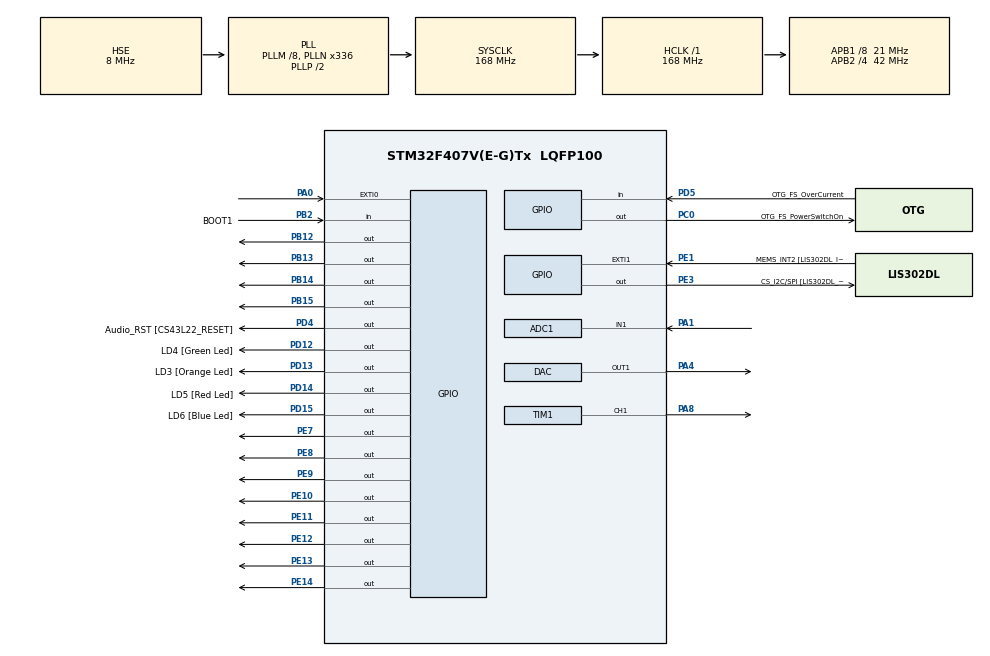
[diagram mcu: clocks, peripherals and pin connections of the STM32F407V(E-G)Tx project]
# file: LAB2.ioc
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ADC1.Channel-0\#ChannelRegularConversion=ADC_CHANNEL_1
ADC1.ClockPrescaler=ADC_CLOCK_SYNC_PCLK_DIV2
ADC1.ContinuousConvMode=DISABLE
ADC1.DMAContinuousRequests=DISABLE
ADC1.DataAlign=ADC_DATAALIGN_RIGHT
ADC1.DiscontinuousConvMode=DISABLE
ADC1.EOCSelection=ADC_EOC_SINGLE_CONV
ADC1.EnableAnalogWatchDog=false
ADC1.ExternalTrigConv=ADC_SOFTWARE_START
ADC1.ExternalTrigConvEdge=ADC_EXTERNALTRIGCONVEDGE_NONE
ADC1.InjNumberOfConversion=0
ADC1.NbrOfConversion=1
ADC1.NbrOfConversionFlag=1
ADC1.Rank-0\#ChannelRegularConversion=1
ADC1.Resolution=ADC_RESOLUTION_8B
ADC1.SamplingTime-0\#ChannelRegularConversion=ADC_SAMPLETIME_480CYCLES
ADC1.ScanConvMode=DISABLE
ADC1.master=1
Mcu.Family=STM32F4
Mcu.Name=STM32F407V(E-G)Tx
Mcu.Package=LQFP100
NVIC.ADC_IRQn=true\:0\:0\:false\:false\:true\:true
NVIC.EXTI0_IRQn=true\:0\:0\:false\:false\:true\:true
NVIC.PriorityGroup=NVIC_PRIORITYGROUP_0
NVIC.TIM1_BRK_TIM9_IRQn=true\:0\:0\:false\:false\:true\:true
NVIC.TIM1_CC_IRQn=true\:0\:0\:false\:false\:true\:true
NVIC.TIM1_TRG_COM_TIM11_IRQn=true\:0\:0\:false\:false\:true\:true
NVIC.TIM1_UP_TIM10_IRQn=true\:0\:0\:false\:false\:true\:true
NVIC.TIM3_IRQn=true\:0\:0\:false\:false\:true\:true
PA0-WKUP.Signal=GPXTI0
PA1.Signal=ADCx_IN1
PA10.GPIO_Label=OTG_FS_ID
PA10.GPIO_Mode=GPIO_MODE_AF_PP
PA10.GPIO_PuPd=GPIO_NOPULL
PA10.GPIO_Speed=GPIO_SPEED_FREQ_LOW
PA10.Signal=USB_OTG_FS_ID
PA11.GPIO_Label=OTG_FS_DM
PA11.GPIO_Mode=GPIO_MODE_AF_PP
PA11.GPIO_PuPd=GPIO_NOPULL
PA11.GPIO_Speed=GPIO_SPEED_FREQ_LOW
PA11.Signal=USB_OTG_FS_DM
PA12.GPIO_Label=OTG_FS_DP
PA12.GPIO_Mode=GPIO_MODE_AF_PP
PA12.GPIO_PuPd=GPIO_NOPULL
PA12.GPIO_Speed=GPIO_SPEED_FREQ_LOW
PA12.Signal=USB_OTG_FS_DP
PA13.GPIO_Label=SWDIO
PA13.Signal=SYS_JTMS-SWDIO
PA14.GPIO_Label=SWCLK
PA14.Signal=SYS_JTCK-SWCLK
PA4.Signal=COMP_DAC1_group
PA5.GPIO_Label=SPI1_SCK [LIS302DL_SCL/SPC]
PA5.GPIO_Mode=GPIO_MODE_AF_PP
PA5.GPIO_PuPd=GPIO_NOPULL
PA5.GPIO_Speed=GPIO_SPEED_FREQ_LOW
PA5.Signal=SPI1_SCK
PA6.GPIO_Label=SPI1_MISO [LIS302DL_SDO]
PA6.GPIO_Mode=GPIO_MODE_AF_PP
PA6.GPIO_PuPd=GPIO_NOPULL
PA6.GPIO_Speed=GPIO_SPEED_FREQ_LOW
PA6.Signal=SPI1_MISO
PA7.GPIO_Label=SPI1_MOSI [LIS302DL_SDA/SDI/SDO]
PA7.GPIO_Mode=GPIO_MODE_AF_PP
PA7.GPIO_PuPd=GPIO_NOPULL
PA7.GPIO_Speed=GPIO_SPEED_FREQ_LOW
PA7.Signal=SPI1_MOSI
PA8.Signal=S_TIM1_CH1
PA9.GPIO_Label=VBUS_FS
PA9.GPIO_Mode=GPIO_MODE_INPUT
PA9.GPIO_PuPd=GPIO_NOPULL
PA9.Signal=USB_OTG_FS_VBUS
PB10.GPIO_Label=CLK_IN [MP45DT02_CLK]
PB10.GPIO_Mode=GPIO_MODE_AF_PP
PB10.GPIO_PuPd=GPIO_NOPULL
PB10.GPIO_Speed=GPIO_SPEED_FREQ_LOW
PB10.Signal=I2S2_CK
PB12.Signal=GPIO_Output
PB13.Signal=GPIO_Output
PB14.Signal=GPIO_Output
PB15.Signal=GPIO_Output
PB2.GPIO_Label=BOOT1
PB2.GPIO_Mode=GPIO_MODE_INPUT
PB2.GPIO_PuPd=GPIO_NOPULL
PB2.Signal=GPIO_Input
PB3.GPIO_Label=SWO
PB3.Signal=SYS_JTDO-SWO
PB6.GPIO_Label=Audio_SCL [CS43L22_SCL]
PB6.GPIO_Mode=GPIO_MODE_AF_OD
PB6.GPIO_PuPd=GPIO_NOPULL
PB6.GPIO_Speed=GPIO_SPEED_FREQ_LOW
PB6.Signal=I2C1_SCL
PB9.GPIO_Label=Audio_SDA [CS43L22_SDA]
PB9.GPIO_Mode=GPIO_MODE_AF_OD
PB9.GPIO_PuPd=GPIO_NOPULL
PB9.GPIO_Speed=GPIO_SPEED_FREQ_LOW
PB9.Signal=I2C1_SDA
PC0.GPIO_Label=OTG_FS_PowerSwitchOn
PC0.GPIO_PuPd=GPIO_NOPULL
PC0.GPIO_Speed=GPIO_SPEED_FREQ_LOW
PC0.PinState=GPIO_PIN_SET
PC0.Signal=GPIO_Output
PC10.GPIO_Label=I2S3_SCK [CS43L22_SCLK]
PC10.GPIO_Mode=GPIO_MODE_AF_PP
PC10.GPIO_PuPd=GPIO_NOPULL
PC10.GPIO_Speed=GPIO_SPEED_FREQ_LOW
PC10.Signal=I2S3_CK
PC12.GPIO_Label=I2S3_SD [CS43L22_SDIN]
PC12.GPIO_Mode=GPIO_MODE_AF_PP
PC12.GPIO_PuPd=GPIO_NOPULL
PC12.GPIO_Speed=GPIO_SPEED_FREQ_LOW
PC12.Signal=I2S3_SD
PC14-OSC32_IN.GPIO_Label=PC14-OSC32_IN
PC14-OSC32_IN.Signal=RCC_OSC32_IN
PC15-OSC32_OUT.GPIO_Label=PC15-OSC32_OUT
PC15-OSC32_OUT.Signal=RCC_OSC32_OUT
PC3.GPIO_Label=PDM_OUT [MP45DT02_DOUT]
PC3.GPIO_Mode=GPIO_MODE_AF_PP
PC3.GPIO_PuPd=GPIO_NOPULL
PC3.GPIO_Speed=GPIO_SPEED_FREQ_LOW
PC3.Signal=I2S2_SD
PC7.GPIO_Label=I2S3_MCK [CS43L22_MCLK]
PC7.GPIO_Mode=GPIO_MODE_AF_PP
PC7.GPIO_PuPd=GPIO_NOPULL
PC7.GPIO_Speed=GPIO_SPEED_FREQ_LOW
PC7.Signal=I2S3_MCK
PD12.GPIO_Label=LD4 [Green Led]
PD12.GPIO_PuPd=GPIO_NOPULL
PD12.GPIO_Speed=GPIO_SPEED_FREQ_LOW
PD12.Signal=GPIO_Output
PD13.GPIO_Label=LD3 [Orange Led]
PD13.GPIO_PuPd=GPIO_NOPULL
PD13.GPIO_Speed=GPIO_SPEED_FREQ_LOW
PD13.Signal=GPIO_Output
PD14.GPIO_Label=LD5 [Red Led]
PD14.GPIO_PuPd=GPIO_NOPULL
PD14.GPIO_Speed=GPIO_SPEED_FREQ_LOW
PD14.Signal=GPIO_Output
PD15.GPIO_Label=LD6 [Blue Led]
PD15.GPIO_PuPd=GPIO_NOPULL
PD15.GPIO_Speed=GPIO_SPEED_FREQ_LOW
PD15.Signal=GPIO_Output
PD4.GPIO_Label=Audio_RST [CS43L22_RESET]
PD4.GPIO_PuPd=GPIO_NOPULL
PD4.GPIO_Speed=GPIO_SPEED_FREQ_LOW
PD4.Signal=GPIO_Output
PD5.GPIO_Label=OTG_FS_OverCurrent
PD5.GPIO_Mode=GPIO_MODE_INPUT
PD5.GPIO_PuPd=GPIO_NOPULL
PD5.Signal=GPIO_Input
PE1.GPIO_Label=MEMS_INT2 [LIS302DL_INT2]
PE1.GPIO_ModeDefaultEXTI=GPIO_MODE_EVT_RISING
PE1.GPIO_PuPd=GPIO_NOPULL
PE1.Signal=GPXTI1
PE10.Signal=GPIO_Output
PE11.Signal=GPIO_Output
PE12.Signal=GPIO_Output
PE13.Signal=GPIO_Output
PE14.Signal=GPIO_Output
PE3.GPIO_Label=CS_I2C/SPI [LIS302DL_CS_I2C/SPI]
PE3.GPIO_PuPd=GPIO_NOPULL
PE3.GPIO_Speed=GPIO_SPEED_FREQ_LOW
PE3.Signal=GPIO_Output
PE7.Signal=GPIO_Output
PE8.Signal=GPIO_Output
PE9.Signal=GPIO_Output
PH0-OSC_IN.GPIO_Label=PH0-OSC_IN
PH0-OSC_IN.Mode=HSE-External-Oscillator
PH0-OSC_IN.Signal=RCC_OSC_IN
PH1-OSC_OUT.GPIO_Label=PH1-OSC_OUT
PH1-OSC_OUT.Mode=HSE-External-Oscillator
PH1-OSC_OUT.Signal=RCC_OSC_OUT
ProjectManager.HeapSize=0x200
ProjectManager.StackSize=0x400
ProjectManager.TargetToolchain=MDK-ARM V5
RCC.48MHZClocksFreq_Value=48000000
RCC.AHBFreq_Value=168000000
RCC.APB1CLKDivider=RCC_HCLK_DIV8
RCC.APB1Freq_Value=21000000
RCC.APB1TimFreq_Value=42000000
RCC.APB2CLKDivider=RCC_HCLK_DIV4
RCC.APB2Freq_Value=42000000
RCC.APB2TimFreq_Value=84000000
RCC.CortexFreq_Value=168000000
RCC.HCLKFreq_Value=168000000
RCC.HSE_VALUE=8000000
RCC.HSI_VALUE=16000000
RCC.LSE_VALUE=32768
RCC.PLLM=8
RCC.PLLN=336
RCC.PLLQ=7
RCC.PLLSourceVirtual=RCC_PLLSOURCE_HSE
RCC.SYSCLKFreq_VALUE=168000000
RCC.SYSCLKSource=RCC_SYSCLKSOURCE_PLLCLK
RCC.VCOOutputFreq_Value=336000000
SH.ADCx_IN1.0=ADC1_IN1,IN1
SH.COMP_DAC1_group.0=DAC_OUT1,DAC_OUT1
SH.S_TIM1_CH1.0=TIM1_CH1,PWM Generation1 CH1
TIM1.Channel-PWM\ Generation1\ CH1=TIM_CHANNEL_1
VP_TIM1_VS_ClockSourceINT.Mode=Internal
VP_TIM3_VS_ClockSourceINT.Mode=Internal
board=STM32F4DISCOVERY

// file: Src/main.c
/**
  ******************************************************************************
  * File Name          : main.c
  * Description        : Main program body
  ******************************************************************************
  ** This notice applies to any and all portions of this file
  * that are not between comment pairs USER CODE BEGIN and
  * USER CODE END. Other portions of this file, whether
  * inserted by the user or by software development tools
  * are owned by their respective copyright owners.
  *
  * COPYRIGHT(c) 2018 STMicroelectronics
  *
  * Redistribution and use in source and binary forms, with or without modification,
  * are permitted provided that the following conditions are met:
  *   1. Redistributions of source code must retain the above copyright notice,
  *      this list of conditions and the following disclaimer.
  *   2. Redistributions in binary form must reproduce the above copyright notice,
  *      this list of conditions and the following disclaimer in the documentation
  *      and/or other materials provided with the distribution.
  *   3. Neither the name of STMicroelectronics nor the names of its contributors
  *      may be used to endorse or promote products derived from this software
  *      without specific prior written permission.
  *
  * THIS SOFTWARE IS PROVIDED BY THE COPYRIGHT HOLDERS AND CONTRIBUTORS "AS IS"
  * AND ANY EXPRESS OR IMPLIED WARRANTIES, INCLUDING, BUT NOT LIMITED TO, THE
  * IMPLIED WARRANTIES OF MERCHANTABILITY AND FITNESS FOR A PARTICULAR PURPOSE ARE
  * DISCLAIMED. IN NO EVENT SHALL THE COPYRIGHT HOLDER OR CONTRIBUTORS BE LIABLE
  * FOR ANY DIRECT, INDIRECT, INCIDENTAL, SPECIAL, EXEMPLARY, OR CONSEQUENTIAL
  * DAMAGES (INCLUDING, BUT NOT LIMITED TO, PROCUREMENT OF SUBSTITUTE GOODS OR
  * SERVICES; LOSS OF USE, DATA, OR PROFITS; OR BUSINESS INTERRUPTION) HOWEVER
  * CAUSED AND ON ANY THEORY OF LIABILITY, WHETHER IN CONTRACT, STRICT LIABILITY,
  * OR TORT (INCLUDING NEGLIGENCE OR OTHERWISE) ARISING IN ANY WAY OUT OF THE USE
  * OF THIS SOFTWARE, EVEN IF ADVISED OF THE POSSIBILITY OF SUCH DAMAGE.
  *
  ******************************************************************************
  */
#include "main.h"
#include "stm32f4xx_hal.h"

/* USER CODE BEGIN Includes */
#define SEG_A GPIO_PIN_7			//Pin PE7  brown cable
#define SEG_B GPIO_PIN_8			//Pin PE8  brown cable
#define SEG_C GPIO_PIN_9			//Pin PE9  yellow cable
#define SEG_D GPIO_PIN_10		//Pin PE10 yellow cable
#define SEG_E GPIO_PIN_11		//Pin PE11 gray cable
#define SEG_F GPIO_PIN_12		//Pin PE12 gray cable
#define SEG_G GPIO_PIN_13		//Pin PE13 green cable
#define SEG_DP GPIO_PIN_14		//Pin PE14 green cable

#define SEG_OUT1 GPIO_PIN_2		//Pin PE2 white cable
#define SEG_OUT2 GPIO_PIN_4		//Pin PE4 red cable
#define SEG_OUT3 GPIO_PIN_5		//Pin PE5 brown cable
#define SEG_OUT4 GPIO_PIN_6		//Pin PE6 white cable
/* USER CODE END Includes */

ADC_HandleTypeDef hadc1;

DAC_HandleTypeDef hdac;

TIM_HandleTypeDef htim1;
TIM_HandleTypeDef htim3;

/* USER CODE BEGIN PV */
/* Private variables ---------------------------------------------------------*/
int x[] = {0, 0, 0, 0, 0};
volatile int sysTickFlag;
volatile int displayMode = 0;
volatile int debounce = 0;
float coeff[5] = {0.2, 0.2, 0.2, 0.2, 0.2};
int coeff_len = 5;
int count = 0;
float min = 10.0;
float max = 0.0;
float rms_counter = 0.0;
float rms[10] = {0, 0, 0, 0, 0, 0, 0, 0, 0, 0};

/* USER CODE END PV */

void SystemClock_Config(void);
static void MX_GPIO_Init(void);
static void MX_ADC1_Init(void);
static void MX_DAC_Init(void);
static void MX_TIM1_Init(void);
static void MX_TIM3_Init(void);

void HAL_TIM_MspPostInit(TIM_HandleTypeDef *htim);

/* USER CODE BEGIN PFP */
/* Private function prototypes -----------------------------------------------*/

/* USER CODE END PFP */

int main(void)
{

  /* MCU Configuration----------------------------------------------------------*/

  /* Reset of all peripherals, Initializes the Flash interface and the Systick. */
  HAL_Init();

  /* Configure the system clock */
  SystemClock_Config();

  /* Initialize all configured peripherals */
  MX_GPIO_Init();
  MX_ADC1_Init();
  MX_DAC_Init();
  MX_TIM1_Init();
  MX_TIM3_Init();

  /* USER CODE BEGIN 2 */
	int adc;
	float res_filter = 0.0;

	HAL_ADC_Start_IT(&hadc1);

	// Give a initial DAC value
	HAL_DAC_Start(&hdac, DAC_CHANNEL_1);
	HAL_DAC_SetValue(&hdac, DAC_CHANNEL_1, DAC_ALIGN_8B_R, 800);
  /* USER CODE END 2 */

  /* Infinite loop */
  while (1)
  {
	printf("it's lit");
  }

}

/** System Clock Configuration
*/
void SystemClock_Config(void)
{

  RCC_OscInitTypeDef RCC_OscInitStruct;
  RCC_ClkInitTypeDef RCC_ClkInitStruct;

    /**Configure the main internal regulator output voltage
    */
  __HAL_RCC_PWR_CLK_ENABLE();

  __HAL_PWR_VOLTAGESCALING_CONFIG(PWR_REGULATOR_VOLTAGE_SCALE1);

    /**Initializes the CPU, AHB and APB busses clocks
    */
  RCC_OscInitStruct.OscillatorType = RCC_OSCILLATORTYPE_HSE;
  RCC_OscInitStruct.HSEState = RCC_HSE_ON;
  RCC_OscInitStruct.PLL.PLLState = RCC_PLL_ON;
  RCC_OscInitStruct.PLL.PLLSource = RCC_PLLSOURCE_HSE;
  RCC_OscInitStruct.PLL.PLLM = 8;
  RCC_OscInitStruct.PLL.PLLN = 336;
  RCC_OscInitStruct.PLL.PLLP = RCC_PLLP_DIV2;
  RCC_OscInitStruct.PLL.PLLQ = 7;
  if (HAL_RCC_OscConfig(&RCC_OscInitStruct) != HAL_OK)
  {
    _Error_Handler(__FILE__, __LINE__);
  }

    /**Initializes the CPU, AHB and APB busses clocks
    */
  RCC_ClkInitStruct.ClockType = RCC_CLOCKTYPE_HCLK|RCC_CLOCKTYPE_SYSCLK
                              |RCC_CLOCKTYPE_PCLK1|RCC_CLOCKTYPE_PCLK2;
  RCC_ClkInitStruct.SYSCLKSource = RCC_SYSCLKSOURCE_PLLCLK;
  RCC_ClkInitStruct.AHBCLKDivider = RCC_SYSCLK_DIV1;
  RCC_ClkInitStruct.APB1CLKDivider = RCC_HCLK_DIV8;
  RCC_ClkInitStruct.APB2CLKDivider = RCC_HCLK_DIV4;

  if (HAL_RCC_ClockConfig(&RCC_ClkInitStruct, FLASH_LATENCY_5) != HAL_OK)
  {
    _Error_Handler(__FILE__, __LINE__);
  }

    /**Configure the Systick interrupt time
    */
  HAL_SYSTICK_Config(HAL_RCC_GetHCLKFreq()/1000);

    /**Configure the Systick
    */
  HAL_SYSTICK_CLKSourceConfig(SYSTICK_CLKSOURCE_HCLK);

  /* SysTick_IRQn interrupt configuration */
  HAL_NVIC_SetPriority(SysTick_IRQn, 0, 0);
}

/* ADC1 init function */
static void MX_ADC1_Init(void)
{

  ADC_ChannelConfTypeDef sConfig;

    /**Configure the global features of the ADC (Clock, Resolution, Data Alignment and number of conversion)
    */
  hadc1.Instance = ADC1;
  hadc1.Init.ClockPrescaler = ADC_CLOCK_SYNC_PCLK_DIV2;
  hadc1.Init.Resolution = ADC_RESOLUTION_8B;
  hadc1.Init.ScanConvMode = DISABLE;
  hadc1.Init.ContinuousConvMode = DISABLE;
  hadc1.Init.DiscontinuousConvMode = DISABLE;
  hadc1.Init.ExternalTrigConvEdge = ADC_EXTERNALTRIGCONVEDGE_NONE;
  hadc1.Init.ExternalTrigConv = ADC_SOFTWARE_START;
  hadc1.Init.DataAlign = ADC_DATAALIGN_RIGHT;
  hadc1.Init.NbrOfConversion = 1;
  hadc1.Init.DMAContinuousRequests = DISABLE;
  hadc1.Init.EOCSelection = ADC_EOC_SINGLE_CONV;
  if (HAL_ADC_Init(&hadc1) != HAL_OK)
  {
    _Error_Handler(__FILE__, __LINE__);
  }

    /**Configure for the selected ADC regular channel its corresponding rank in the sequencer and its sample time.
    */
  sConfig.Channel = ADC_CHANNEL_1;
  sConfig.Rank = 1;
  sConfig.SamplingTime = ADC_SAMPLETIME_480CYCLES;
  if (HAL_ADC_ConfigChannel(&hadc1, &sConfig) != HAL_OK)
  {
    _Error_Handler(__FILE__, __LINE__);
  }

}

/* DAC init function */
static void MX_DAC_Init(void)
{

  DAC_ChannelConfTypeDef sConfig;

    /**DAC Initialization
    */
  hdac.Instance = DAC;
  if (HAL_DAC_Init(&hdac) != HAL_OK)
  {
    _Error_Handler(__FILE__, __LINE__);
  }

    /**DAC channel OUT1 config
    */
  sConfig.DAC_Trigger = DAC_TRIGGER_NONE;
  sConfig.DAC_OutputBuffer = DAC_OUTPUTBUFFER_ENABLE;
  if (HAL_DAC_ConfigChannel(&hdac, &sConfig, DAC_CHANNEL_1) != HAL_OK)
  {
    _Error_Handler(__FILE__, __LINE__);
  }

}

/* TIM1 init function */
static void MX_TIM1_Init(void)
{

  TIM_ClockConfigTypeDef sClockSourceConfig;
  TIM_MasterConfigTypeDef sMasterConfig;
  TIM_OC_InitTypeDef sConfigOC;
  TIM_BreakDeadTimeConfigTypeDef sBreakDeadTimeConfig;

  htim1.Instance = TIM1;
  htim1.Init.Prescaler = 0;
  htim1.Init.CounterMode = TIM_COUNTERMODE_UP;
  htim1.Init.Period = 0;
  htim1.Init.ClockDivision = TIM_CLOCKDIVISION_DIV1;
  htim1.Init.RepetitionCounter = 0;
  if (HAL_TIM_Base_Init(&htim1) != HAL_OK)
  {
    _Error_Handler(__FILE__, __LINE__);
  }

  sClockSourceConfig.ClockSource = TIM_CLOCKSOURCE_INTERNAL;
  if (HAL_TIM_ConfigClockSource(&htim1, &sClockSourceConfig) != HAL_OK)
  {
    _Error_Handler(__FILE__, __LINE__);
  }

  if (HAL_TIM_PWM_Init(&htim1) != HAL_OK)
  {
    _Error_Handler(__FILE__, __LINE__);
  }

  sMasterConfig.MasterOutputTrigger = TIM_TRGO_RESET;
  sMasterConfig.MasterSlaveMode = TIM_MASTERSLAVEMODE_DISABLE;
  if (HAL_TIMEx_MasterConfigSynchronization(&htim1, &sMasterConfig) != HAL_OK)
  {
    _Error_Handler(__FILE__, __LINE__);
  }

  sConfigOC.OCMode = TIM_OCMODE_PWM1;
  sConfigOC.Pulse = 0;
  sConfigOC.OCPolarity = TIM_OCPOLARITY_HIGH;
  sConfigOC.OCNPolarity = TIM_OCNPOLARITY_HIGH;
  sConfigOC.OCFastMode = TIM_OCFAST_DISABLE;
  sConfigOC.OCIdleState = TIM_OCIDLESTATE_RESET;
  sConfigOC.OCNIdleState = TIM_OCNIDLESTATE_RESET;
  if (HAL_TIM_PWM_ConfigChannel(&htim1, &sConfigOC, TIM_CHANNEL_1) != HAL_OK)
  {
    _Error_Handler(__FILE__, __LINE__);
  }

  sBreakDeadTimeConfig.OffStateRunMode = TIM_OSSR_DISABLE;
  sBreakDeadTimeConfig.OffStateIDLEMode = TIM_OSSI_DISABLE;
  sBreakDeadTimeConfig.LockLevel = TIM_LOCKLEVEL_OFF;
  sBreakDeadTimeConfig.DeadTime = 0;
  sBreakDeadTimeConfig.BreakState = TIM_BREAK_DISABLE;
  sBreakDeadTimeConfig.BreakPolarity = TIM_BREAKPOLARITY_HIGH;
  sBreakDeadTimeConfig.AutomaticOutput = TIM_AUTOMATICOUTPUT_DISABLE;
  if (HAL_TIMEx_ConfigBreakDeadTime(&htim1, &sBreakDeadTimeConfig) != HAL_OK)
  {
    _Error_Handler(__FILE__, __LINE__);
  }

  HAL_TIM_MspPostInit(&htim1);

}

/* TIM3 init function */
static void MX_TIM3_Init(void)
{

  TIM_ClockConfigTypeDef sClockSourceConfig;
  TIM_MasterConfigTypeDef sMasterConfig;

  htim3.Instance = TIM3;
  htim3.Init.Prescaler = 0;
  htim3.Init.CounterMode = TIM_COUNTERMODE_UP;
  htim3.Init.Period = 0;
  htim3.Init.ClockDivision = TIM_CLOCKDIVISION_DIV1;
  if (HAL_TIM_Base_Init(&htim3) != HAL_OK)
  {
    _Error_Handler(__FILE__, __LINE__);
  }

  sClockSourceConfig.ClockSource = TIM_CLOCKSOURCE_INTERNAL;
  if (HAL_TIM_ConfigClockSource(&htim3, &sClockSourceConfig) != HAL_OK)
  {
    _Error_Handler(__FILE__, __LINE__);
  }

  sMasterConfig.MasterOutputTrigger = TIM_TRGO_RESET;
  sMasterConfig.MasterSlaveMode = TIM_MASTERSLAVEMODE_DISABLE;
  if (HAL_TIMEx_MasterConfigSynchronization(&htim3, &sMasterConfig) != HAL_OK)
  {
    _Error_Handler(__FILE__, __LINE__);
  }

}

/** Configure pins as
        * Analog
        * Input
        * Output
        * EVENT_OUT
        * EXTI
     PC3   ------> I2S2_SD
     PA5   ------> SPI1_SCK
     PA6   ------> SPI1_MISO
     PA7   ------> SPI1_MOSI
     PB10   ------> I2S2_CK
     PC7   ------> I2S3_MCK
     PA9   ------> USB_OTG_FS_VBUS
     PA10   ------> USB_OTG_FS_ID
     PA11   ------> USB_OTG_FS_DM
     PA12   ------> USB_OTG_FS_DP
     PC10   ------> I2S3_CK
     PC12   ------> I2S3_SD
     PB6   ------> I2C1_SCL
     PB9   ------> I2C1_SDA
*/
static void MX_GPIO_Init(void)
{

  GPIO_InitTypeDef GPIO_InitStruct;

  /* GPIO Ports Clock Enable */
  __HAL_RCC_GPIOE_CLK_ENABLE();
  __HAL_RCC_GPIOC_CLK_ENABLE();
  __HAL_RCC_GPIOH_CLK_ENABLE();
  __HAL_RCC_GPIOA_CLK_ENABLE();
  __HAL_RCC_GPIOB_CLK_ENABLE();
  __HAL_RCC_GPIOD_CLK_ENABLE();

  /*Configure GPIO pin Output Level */
  HAL_GPIO_WritePin(GPIOE, CS_I2C_SPI_Pin|GPIO_PIN_7|GPIO_PIN_8|GPIO_PIN_9
                          |GPIO_PIN_10|GPIO_PIN_11|GPIO_PIN_12|GPIO_PIN_13
                          |GPIO_PIN_14, GPIO_PIN_RESET);

  /*Configure GPIO pin Output Level */
  HAL_GPIO_WritePin(OTG_FS_PowerSwitchOn_GPIO_Port, OTG_FS_PowerSwitchOn_Pin, GPIO_PIN_SET);

  /*Configure GPIO pin Output Level */
  HAL_GPIO_WritePin(GPIOB, GPIO_PIN_12|GPIO_PIN_13|GPIO_PIN_14|GPIO_PIN_15, GPIO_PIN_RESET);

  /*Configure GPIO pin Output Level */
  HAL_GPIO_WritePin(GPIOD, LD4_Pin|LD3_Pin|LD5_Pin|LD6_Pin
                          |Audio_RST_Pin, GPIO_PIN_RESET);

  /*Configure GPIO pins : CS_I2C_SPI_Pin PE7 PE8 PE9
                           PE10 PE11 PE12 PE13
                           PE14 */
  GPIO_InitStruct.Pin = CS_I2C_SPI_Pin|GPIO_PIN_7|GPIO_PIN_8|GPIO_PIN_9
                          |GPIO_PIN_10|GPIO_PIN_11|GPIO_PIN_12|GPIO_PIN_13
                          |GPIO_PIN_14;
  GPIO_InitStruct.Mode = GPIO_MODE_OUTPUT_PP;
  GPIO_InitStruct.Pull = GPIO_NOPULL;
  GPIO_InitStruct.Speed = GPIO_SPEED_FREQ_LOW;
  HAL_GPIO_Init(GPIOE, &GPIO_InitStruct);

  /*Configure GPIO pin : OTG_FS_PowerSwitchOn_Pin */
  GPIO_InitStruct.Pin = OTG_FS_PowerSwitchOn_Pin;
  GPIO_InitStruct.Mode = GPIO_MODE_OUTPUT_PP;
  GPIO_InitStruct.Pull = GPIO_NOPULL;
  GPIO_InitStruct.Speed = GPIO_SPEED_FREQ_LOW;
  HAL_GPIO_Init(OTG_FS_PowerSwitchOn_GPIO_Port, &GPIO_InitStruct);

  /*Configure GPIO pin : PDM_OUT_Pin */
  GPIO_InitStruct.Pin = PDM_OUT_Pin;
  GPIO_InitStruct.Mode = GPIO_MODE_AF_PP;
  GPIO_InitStruct.Pull = GPIO_NOPULL;
  GPIO_InitStruct.Speed = GPIO_SPEED_FREQ_LOW;
  GPIO_InitStruct.Alternate = GPIO_AF5_SPI2;
  HAL_GPIO_Init(PDM_OUT_GPIO_Port, &GPIO_InitStruct);

  /*Configure GPIO pin : PA0 */
  GPIO_InitStruct.Pin = GPIO_PIN_0;
  GPIO_InitStruct.Mode = GPIO_MODE_IT_RISING;
  GPIO_InitStruct.Pull = GPIO_NOPULL;
  HAL_GPIO_Init(GPIOA, &GPIO_InitStruct);

  /*Configure GPIO pins : SPI1_SCK_Pin SPI1_MISO_Pin SPI1_MOSI_Pin */
  GPIO_InitStruct.Pin = SPI1_SCK_Pin|SPI1_MISO_Pin|SPI1_MOSI_Pin;
  GPIO_InitStruct.Mode = GPIO_MODE_AF_PP;
  GPIO_InitStruct.Pull = GPIO_NOPULL;
  GPIO_InitStruct.Speed = GPIO_SPEED_FREQ_LOW;
  GPIO_InitStruct.Alternate = GPIO_AF5_SPI1;
  HAL_GPIO_Init(GPIOA, &GPIO_InitStruct);

  /*Configure GPIO pin : BOOT1_Pin */
  GPIO_InitStruct.Pin = BOOT1_Pin;
  GPIO_InitStruct.Mode = GPIO_MODE_INPUT;
  GPIO_InitStruct.Pull = GPIO_NOPULL;
  HAL_GPIO_Init(BOOT1_GPIO_Port, &GPIO_InitStruct);

  /*Configure GPIO pin : CLK_IN_Pin */
  GPIO_InitStruct.Pin = CLK_IN_Pin;
  GPIO_InitStruct.Mode = GPIO_MODE_AF_PP;
  GPIO_InitStruct.Pull = GPIO_NOPULL;
  GPIO_InitStruct.Speed = GPIO_SPEED_FREQ_LOW;
  GPIO_InitStruct.Alternate = GPIO_AF5_SPI2;
  HAL_GPIO_Init(CLK_IN_GPIO_Port, &GPIO_InitStruct);

  /*Configure GPIO pins : PB12 PB13 PB14 PB15 */
  GPIO_InitStruct.Pin = GPIO_PIN_12|GPIO_PIN_13|GPIO_PIN_14|GPIO_PIN_15;
  GPIO_InitStruct.Mode = GPIO_MODE_OUTPUT_PP;
  GPIO_InitStruct.Pull = GPIO_NOPULL;
  GPIO_InitStruct.Speed = GPIO_SPEED_FREQ_LOW;
  HAL_GPIO_Init(GPIOB, &GPIO_InitStruct);

  /*Configure GPIO pins : LD4_Pin LD3_Pin LD5_Pin LD6_Pin
                           Audio_RST_Pin */
  GPIO_InitStruct.Pin = LD4_Pin|LD3_Pin|LD5_Pin|LD6_Pin
                          |Audio_RST_Pin;
  GPIO_InitStruct.Mode = GPIO_MODE_OUTPUT_PP;
  GPIO_InitStruct.Pull = GPIO_NOPULL;
  GPIO_InitStruct.Speed = GPIO_SPEED_FREQ_LOW;
  HAL_GPIO_Init(GPIOD, &GPIO_InitStruct);

  /*Configure GPIO pins : I2S3_MCK_Pin I2S3_SCK_Pin I2S3_SD_Pin */
  GPIO_InitStruct.Pin = I2S3_MCK_Pin|I2S3_SCK_Pin|I2S3_SD_Pin;
  GPIO_InitStruct.Mode = GPIO_MODE_AF_PP;
  GPIO_InitStruct.Pull = GPIO_NOPULL;
  GPIO_InitStruct.Speed = GPIO_SPEED_FREQ_LOW;
  GPIO_InitStruct.Alternate = GPIO_AF6_SPI3;
  HAL_GPIO_Init(GPIOC, &GPIO_InitStruct);

  /*Configure GPIO pin : VBUS_FS_Pin */
  GPIO_InitStruct.Pin = VBUS_FS_Pin;
  GPIO_InitStruct.Mode = GPIO_MODE_INPUT;
  GPIO_InitStruct.Pull = GPIO_NOPULL;
  HAL_GPIO_Init(VBUS_FS_GPIO_Port, &GPIO_InitStruct);

  /*Configure GPIO pins : OTG_FS_ID_Pin OTG_FS_DM_Pin OTG_FS_DP_Pin */
  GPIO_InitStruct.Pin = OTG_FS_ID_Pin|OTG_FS_DM_Pin|OTG_FS_DP_Pin;
  GPIO_InitStruct.Mode = GPIO_MODE_AF_PP;
  GPIO_InitStruct.Pull = GPIO_NOPULL;
  GPIO_InitStruct.Speed = GPIO_SPEED_FREQ_LOW;
  GPIO_InitStruct.Alternate = GPIO_AF10_OTG_FS;
  HAL_GPIO_Init(GPIOA, &GPIO_InitStruct);

  /*Configure GPIO pin : OTG_FS_OverCurrent_Pin */
  GPIO_InitStruct.Pin = OTG_FS_OverCurrent_Pin;
  GPIO_InitStruct.Mode = GPIO_MODE_INPUT;
  GPIO_InitStruct.Pull = GPIO_NOPULL;
  HAL_GPIO_Init(OTG_FS_OverCurrent_GPIO_Port, &GPIO_InitStruct);

  /*Configure GPIO pins : Audio_SCL_Pin Audio_SDA_Pin */
  GPIO_InitStruct.Pin = Audio_SCL_Pin|Audio_SDA_Pin;
  GPIO_InitStruct.Mode = GPIO_MODE_AF_OD;
  GPIO_InitStruct.Pull = GPIO_PULLUP;
  GPIO_InitStruct.Speed = GPIO_SPEED_FREQ_LOW;
  GPIO_InitStruct.Alternate = GPIO_AF4_I2C1;
  HAL_GPIO_Init(GPIOB, &GPIO_InitStruct);

  /*Configure GPIO pin : MEMS_INT2_Pin */
  GPIO_InitStruct.Pin = MEMS_INT2_Pin;
  GPIO_InitStruct.Mode = GPIO_MODE_EVT_RISING;
  GPIO_InitStruct.Pull = GPIO_NOPULL;
  HAL_GPIO_Init(MEMS_INT2_GPIO_Port, &GPIO_InitStruct);

  /* EXTI interrupt init*/
  HAL_NVIC_SetPriority(EXTI0_IRQn, 0, 0);
  HAL_NVIC_EnableIRQ(EXTI0_IRQn);

}

/* USER CODE BEGIN 4 */
/**
 * @brief  this function returns the min, max and rms of the last 10 seconds updates
 * @param  float input, float* output
 * @retval None
 */

void c_math(float input, float* output) {
	if(count == 0) {
		min = input;
		max = input;
	} else {
		if(input < min) min = input;
		else if(input > max) max = input;
	}

	//update rms vector of 10
	for(int i = 0 ; i < 9 ; i++){
      rms[i] = rms[i + 1];
  }
	rms[9] = input * input;
	rms_counter = rms_counter + 1.0;
	float sum = 0;

	for(int k = 0 ; k < 10 ; k++){
		sum += rms[k];
	}
	count = (count + 1) % 500;
	output[0] = sqrt(sum / ((rms_counter < 10) ? rms_counter : 10));
	output[1] = min;
	output[2] = max;
}

/**
 * @brief  FIR Filter takes in integer inputs serially and returns the filtered data (output)
 * @param  integer input, output address (pointer to index in output array)
 * @retval None
 */
void FIR_C(int input, float *output) {
  // Shift all x to the left
  for(int i = 0 ; i < 4 ; i++){
      x[i] = x[i + 1];
  }

  //update x[4] with new input
  x[4] = input;

  //calculate output
  *output = 0 ;
  for(int i = 0 ; i < 5 ; i++){
      *output = *output + x[i] * coeff[i];
  }
}

/**
 * @brief  This function is sets the LED displays
 * @param  int number, int position
 * @retval None
 */
void display(int number, int position){
	// set a specific value to set all the segment pins to low
	if (number == -1){
			HAL_GPIO_WritePin(GPIOE, SEG_A , GPIO_PIN_RESET);
			HAL_GPIO_WritePin(GPIOE, SEG_B , GPIO_PIN_RESET);
			HAL_GPIO_WritePin(GPIOE, SEG_C , GPIO_PIN_RESET);
			HAL_GPIO_WritePin(GPIOE, SEG_D , GPIO_PIN_RESET);
			HAL_GPIO_WritePin(GPIOE, SEG_E , GPIO_PIN_RESET);
			HAL_GPIO_WritePin(GPIOE, SEG_F , GPIO_PIN_RESET);
			HAL_GPIO_WritePin(GPIOE, SEG_G , GPIO_PIN_RESET);
	}

	else if (number == 1){
			HAL_GPIO_WritePin(GPIOE, SEG_A , GPIO_PIN_RESET);
			HAL_GPIO_WritePin(GPIOE, SEG_B , GPIO_PIN_SET);
			HAL_GPIO_WritePin(GPIOE, SEG_C , GPIO_PIN_SET);
			HAL_GPIO_WritePin(GPIOE, SEG_D , GPIO_PIN_RESET);
			HAL_GPIO_WritePin(GPIOE, SEG_E , GPIO_PIN_RESET);
			HAL_GPIO_WritePin(GPIOE, SEG_F , GPIO_PIN_RESET);
			HAL_GPIO_WritePin(GPIOE, SEG_G , GPIO_PIN_RESET);
	}

	else if (number == 2){
			HAL_GPIO_WritePin(GPIOE, SEG_A , GPIO_PIN_SET);
			HAL_GPIO_WritePin(GPIOE, SEG_B , GPIO_PIN_SET);
			HAL_GPIO_WritePin(GPIOE, SEG_C , GPIO_PIN_RESET);
			HAL_GPIO_WritePin(GPIOE, SEG_D , GPIO_PIN_SET);
			HAL_GPIO_WritePin(GPIOE, SEG_E , GPIO_PIN_SET);
			HAL_GPIO_WritePin(GPIOE, SEG_F , GPIO_PIN_RESET);
			HAL_GPIO_WritePin(GPIOE, SEG_G , GPIO_PIN_SET);
	}

	else if (number == 3){
			HAL_GPIO_WritePin(GPIOE, SEG_A , GPIO_PIN_SET);
			HAL_GPIO_WritePin(GPIOE, SEG_B , GPIO_PIN_SET);
			HAL_GPIO_WritePin(GPIOE, SEG_C , GPIO_PIN_SET);
			HAL_GPIO_WritePin(GPIOE, SEG_D , GPIO_PIN_SET);
			HAL_GPIO_WritePin(GPIOE, SEG_E , GPIO_PIN_RESET);
			HAL_GPIO_WritePin(GPIOE, SEG_F , GPIO_PIN_RESET);
			HAL_GPIO_WritePin(GPIOE, SEG_G , GPIO_PIN_SET);
	}

	else if (number == 4){
			HAL_GPIO_WritePin(GPIOE, SEG_A , GPIO_PIN_RESET);
			HAL_GPIO_WritePin(GPIOE, SEG_B , GPIO_PIN_SET);
			HAL_GPIO_WritePin(GPIOE, SEG_C , GPIO_PIN_SET);
			HAL_GPIO_WritePin(GPIOE, SEG_D , GPIO_PIN_RESET);
			HAL_GPIO_WritePin(GPIOE, SEG_E , GPIO_PIN_RESET);
			HAL_GPIO_WritePin(GPIOE, SEG_F , GPIO_PIN_SET);
			HAL_GPIO_WritePin(GPIOE, SEG_G , GPIO_PIN_SET);
	}

	else if (number == 5){
			HAL_GPIO_WritePin(GPIOE, SEG_A , GPIO_PIN_SET);
			HAL_GPIO_WritePin(GPIOE, SEG_B , GPIO_PIN_RESET);
			HAL_GPIO_WritePin(GPIOE, SEG_C , GPIO_PIN_SET);
			HAL_GPIO_WritePin(GPIOE, SEG_D , GPIO_PIN_SET);
			HAL_GPIO_WritePin(GPIOE, SEG_E , GPIO_PIN_RESET);
			HAL_GPIO_WritePin(GPIOE, SEG_F , GPIO_PIN_SET);
			HAL_GPIO_WritePin(GPIOE, SEG_G , GPIO_PIN_SET);
	}

	else if (number == 6){
			HAL_GPIO_WritePin(GPIOE, SEG_A , GPIO_PIN_SET);
			HAL_GPIO_WritePin(GPIOE, SEG_B , GPIO_PIN_RESET);
			HAL_GPIO_WritePin(GPIOE, SEG_C , GPIO_PIN_SET);
			HAL_GPIO_WritePin(GPIOE, SEG_D , GPIO_PIN_SET);
			HAL_GPIO_WritePin(GPIOE, SEG_E , GPIO_PIN_SET);
			HAL_GPIO_WritePin(GPIOE, SEG_F , GPIO_PIN_SET);
			HAL_GPIO_WritePin(GPIOE, SEG_G , GPIO_PIN_SET);
	}

	else if (number == 7){
			HAL_GPIO_WritePin(GPIOE, SEG_A , GPIO_PIN_SET);
			HAL_GPIO_WritePin(GPIOE, SEG_B , GPIO_PIN_SET);
			HAL_GPIO_WritePin(GPIOE, SEG_C , GPIO_PIN_SET);
			HAL_GPIO_WritePin(GPIOE, SEG_D , GPIO_PIN_RESET);
			HAL_GPIO_WritePin(GPIOE, SEG_E , GPIO_PIN_RESET);
			HAL_GPIO_WritePin(GPIOE, SEG_F , GPIO_PIN_RESET);
			HAL_GPIO_WritePin(GPIOE, SEG_G , GPIO_PIN_RESET);
	}

	else if (number == 8){
			HAL_GPIO_WritePin(GPIOE, SEG_A , GPIO_PIN_SET);
			HAL_GPIO_WritePin(GPIOE, SEG_B , GPIO_PIN_SET);
			HAL_GPIO_WritePin(GPIOE, SEG_C , GPIO_PIN_SET);
			HAL_GPIO_WritePin(GPIOE, SEG_D , GPIO_PIN_SET);
			HAL_GPIO_WritePin(GPIOE, SEG_E , GPIO_PIN_SET);
			HAL_GPIO_WritePin(GPIOE, SEG_F , GPIO_PIN_SET);
			HAL_GPIO_WritePin(GPIOE, SEG_G , GPIO_PIN_SET);
	}

	else if (number == 9){
			HAL_GPIO_WritePin(GPIOE, SEG_A , GPIO_PIN_SET);
			HAL_GPIO_WritePin(GPIOE, SEG_B , GPIO_PIN_SET);
			HAL_GPIO_WritePin(GPIOE, SEG_C , GPIO_PIN_SET);
			HAL_GPIO_WritePin(GPIOE, SEG_D , GPIO_PIN_RESET);
			HAL_GPIO_WritePin(GPIOE, SEG_E , GPIO_PIN_RESET);
			HAL_GPIO_WritePin(GPIOE, SEG_F , GPIO_PIN_SET);
			HAL_GPIO_WritePin(GPIOE, SEG_G , GPIO_PIN_SET);
	}

	else if (number == 0){
			HAL_GPIO_WritePin(GPIOE, SEG_A , GPIO_PIN_SET);
			HAL_GPIO_WritePin(GPIOE, SEG_B , GPIO_PIN_SET);
			HAL_GPIO_WritePin(GPIOE, SEG_C , GPIO_PIN_SET);
			HAL_GPIO_WritePin(GPIOE, SEG_D , GPIO_PIN_SET);
			HAL_GPIO_WritePin(GPIOE, SEG_E , GPIO_PIN_SET);
			HAL_GPIO_WritePin(GPIOE, SEG_F , GPIO_PIN_SET);
			HAL_GPIO_WritePin(GPIOE, SEG_G , GPIO_PIN_RESET);

	}

	// Set which display to display the number.
	if (position == -1){
		HAL_GPIO_WritePin(GPIOE, SEG_OUT1 , GPIO_PIN_RESET);
		HAL_GPIO_WritePin(GPIOE, SEG_OUT2 , GPIO_PIN_RESET);
		HAL_GPIO_WritePin(GPIOE, SEG_OUT3 , GPIO_PIN_RESET);
		HAL_GPIO_WritePin(GPIOE, SEG_OUT4 , GPIO_PIN_RESET);
		HAL_GPIO_WritePin(GPIOE, SEG_DP , GPIO_PIN_RESET);
	}

	else if (position == 1){
	  HAL_GPIO_WritePin(GPIOE, SEG_OUT1 , GPIO_PIN_SET);
		HAL_GPIO_WritePin(GPIOE, SEG_OUT2 , GPIO_PIN_RESET);
		HAL_GPIO_WritePin(GPIOE, SEG_OUT3 , GPIO_PIN_RESET);
		HAL_GPIO_WritePin(GPIOE, SEG_OUT4 , GPIO_PIN_RESET);
		HAL_GPIO_WritePin(GPIOE, SEG_DP , GPIO_PIN_RESET);
	}

	else if (position == 2){
	  HAL_GPIO_WritePin(GPIOE, SEG_OUT1 , GPIO_PIN_RESET);
		HAL_GPIO_WritePin(GPIOE, SEG_OUT2 , GPIO_PIN_SET);
		HAL_GPIO_WritePin(GPIOE, SEG_OUT3 , GPIO_PIN_RESET);
		HAL_GPIO_WritePin(GPIOE, SEG_OUT4 , GPIO_PIN_RESET);
		HAL_GPIO_WritePin(GPIOE, SEG_DP , GPIO_PIN_SET);
	}

	else if (position == 3){
	  HAL_GPIO_WritePin(GPIOE, SEG_OUT1 , GPIO_PIN_RESET);
		HAL_GPIO_WritePin(GPIOE, SEG_OUT2 , GPIO_PIN_RESET);
		HAL_GPIO_WritePin(GPIOE, SEG_OUT3 , GPIO_PIN_SET);
		HAL_GPIO_WritePin(GPIOE, SEG_OUT4 , GPIO_PIN_RESET);
		HAL_GPIO_WritePin(GPIOE, SEG_DP , GPIO_PIN_RESET);
	}

	else if (position == 4){
	  HAL_GPIO_WritePin(GPIOE, SEG_OUT1 , GPIO_PIN_RESET);
		HAL_GPIO_WritePin(GPIOE, SEG_OUT2 , GPIO_PIN_RESET);
		HAL_GPIO_WritePin(GPIOE, SEG_OUT3 , GPIO_PIN_RESET);
		HAL_GPIO_WritePin(GPIOE, SEG_OUT4 , GPIO_PIN_SET);
		HAL_GPIO_WritePin(GPIOE, SEG_DP , GPIO_PIN_RESET);
	}

	int k;
	for (k = 0; k<=5000; k++)
	{}

}

/* USER CODE END 4 */

void _Error_Handler(char * file, int line)
{
  while(1)
  {
  }
}

/************************ (C) COPYRIGHT STMicroelectronics *****END OF FILE****/
